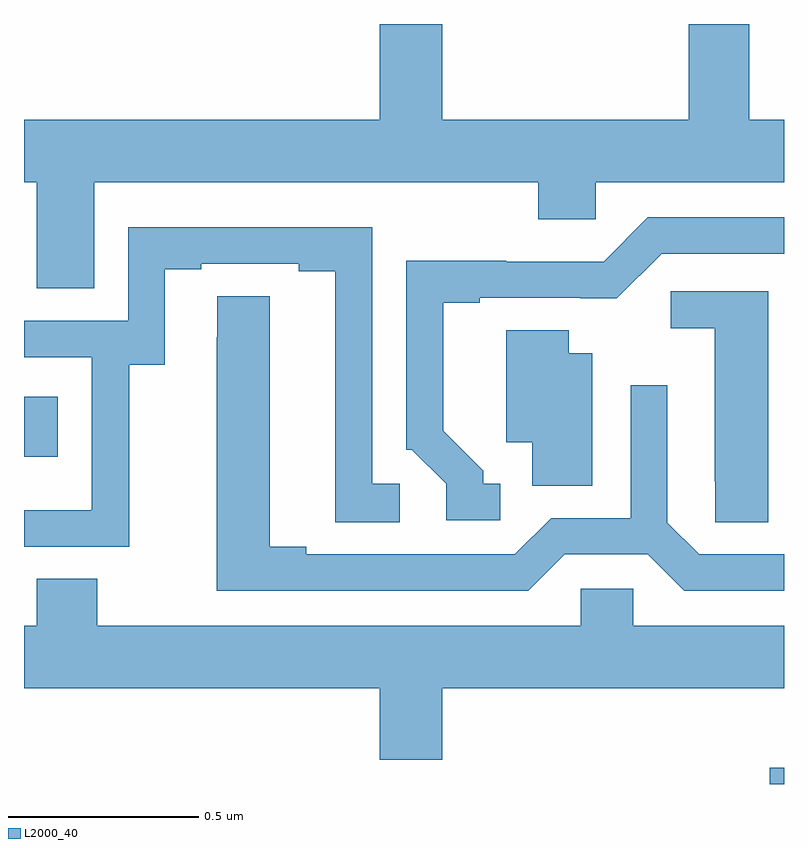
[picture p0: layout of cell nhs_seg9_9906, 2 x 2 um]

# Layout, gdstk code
import gdstk
lib = gdstk.Library(unit=1e-6, precision=1e-09)
def R(c, l, rs):  # rectangles x0, y0, x1, y1
    for r in rs: c.add(gdstk.rectangle(r[:2], r[2:], *l))
def P(c, l, *ps):  # polygons
    for p in ps: c.add(gdstk.Polygon(p, *l))
L2000_40 = (2000, 40)

nhs_seg9_9906 = lib.new_cell('nhs_seg9_9906')
R(nhs_seg9_9906, L2000_40, [(237.963,1197.5,238,1197.543), (236,1198.361,236.089,1198.519)])
P(nhs_seg9_9906, L2000_40, [(236.185,1199.084),(237.353,1199.084),(237.353,1198.986),(237.504,1198.986),(237.504,1199.084),(238,1199.084),(238,1199.248),(237.909,1199.248),(237.909,1199.5),(237.749,1199.5),(237.749,1199.248),(237.1,1199.248),(237.1,1199.5),(236.936,1199.5),(236.936,1199.248),(236,1199.248),(236,1199.084),(236.033,1199.084),(236.033,1198.804),(236.185,1198.804)],
  [(237.253,1198.29),(237.208,1198.29),(237.208,1198.325),(237.103,1198.43),(237.103,1198.767),(237.199,1198.767),(237.199,1198.779),(237.464,1198.779),(237.464,1198.778),(237.56,1198.778),(237.678,1198.896),(238,1198.896),(238,1198.992),(237.642,1198.992),(237.525,1198.875),(237.269,1198.875),(237.269,1198.877),(237.006,1198.877),(237.006,1198.38),(237.021,1198.38),(237.111,1198.29),(237.111,1198.194),(237.253,1198.194)],
  [(236.277,1198.603),(236.371,1198.603),(236.371,1198.854),(236.467,1198.854),(236.467,1198.869),(236.723,1198.869),(236.723,1198.849),(236.819,1198.849),(236.819,1198.189),(236.989,1198.189),(236.989,1198.29),(236.916,1198.29),(236.916,1198.965),(236.274,1198.965),(236.274,1198.719),(236,1198.719),(236,1198.623),(236.178,1198.623),(236.178,1198.222),(236.177,1198.222),(236.177,1198.221),(236,1198.221),(236,1198.125),(236.277,1198.125)],
  [(237.958,1198.797),(237.702,1198.797),(237.702,1198.7),(237.818,1198.7),(237.818,1198.297),(237.819,1198.297),(237.819,1198.189),(237.958,1198.189)],
  [(237.423,1198.104),(237.641,1198.104),(237.737,1198.008),(238,1198.008),(238,1198.104),(237.777,1198.104),(237.693,1198.188),(237.693,1198.549),(237.597,1198.549),(237.597,1198.2),(237.387,1198.2),(237.291,1198.104),(236.743,1198.104),(236.743,1198.124),(236.647,1198.124),(236.647,1198.784),(236.508,1198.784),(236.508,1198.676),(236.507,1198.676),(236.507,1198.008),(237.327,1198.008)],
  [(237.496,1198.633),(237.433,1198.633),(237.433,1198.694),(237.269,1198.694),(237.269,1198.4),(237.338,1198.4),(237.338,1198.285),(237.496,1198.285)],
  [(237.1,1197.752),(238,1197.752),(238,1197.916),(237.603,1197.916),(237.603,1198.014),(237.465,1198.014),(237.465,1197.916),(236.193,1197.916),(236.193,1198.04),(236.033,1198.04),(236.033,1197.916),(236,1197.916),(236,1197.752),(236.936,1197.752),(236.936,1197.564),(237.1,1197.564)])

lib.write_gds('nhs_seg9_9906.gds')
